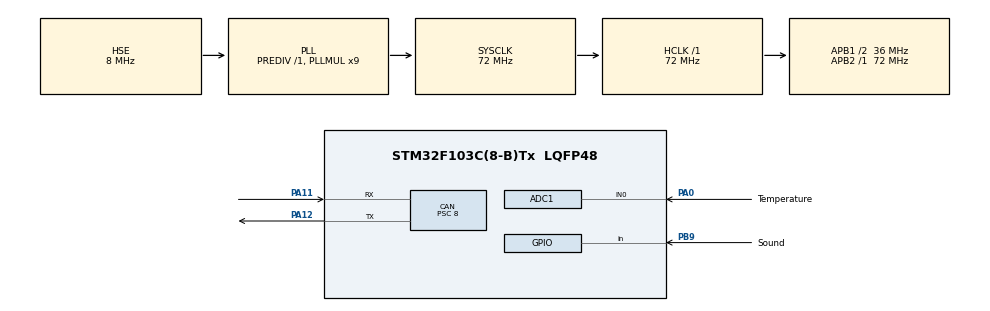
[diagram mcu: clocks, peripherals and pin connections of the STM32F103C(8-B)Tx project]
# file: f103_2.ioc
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ADC1.Channel-0\#ChannelRegularConversion=ADC_CHANNEL_0
ADC1.ContinuousConvMode=ENABLE
ADC1.NbrOfConversionFlag=1
ADC1.Rank-0\#ChannelRegularConversion=1
ADC1.SamplingTime-0\#ChannelRegularConversion=ADC_SAMPLETIME_239CYCLES_5
ADC1.master=1
CAN.BS1=CAN_BS1_15TQ
CAN.BS2=CAN_BS2_2TQ
CAN.CalculateBaudRate=250000
CAN.CalculateTimeBit=4000
CAN.CalculateTimeQuantum=222.22222222222223
CAN.Prescaler=8
Mcu.Family=STM32F1
Mcu.Name=STM32F103C(8-B)Tx
Mcu.Package=LQFP48
NVIC.ADC1_2_IRQn=true\:0\:0\:false\:false\:true\:true\:true\:true
NVIC.PriorityGroup=NVIC_PRIORITYGROUP_4
NVIC.TIM3_IRQn=true\:0\:0\:false\:false\:true\:true\:true\:true
NVIC.TIM4_IRQn=true\:0\:0\:false\:false\:true\:true\:true\:true
PA0-WKUP.GPIO_Label=Temperature
PA0-WKUP.Signal=ADCx_IN0
PA11.Mode=CAN_Activate
PA11.Signal=CAN_RX
PA12.Mode=CAN_Activate
PA12.Signal=CAN_TX
PA13.Mode=Serial_Wire
PA13.Signal=SYS_JTMS-SWDIO
PA14.Mode=Serial_Wire
PA14.Signal=SYS_JTCK-SWCLK
PB9.GPIO_Label=Sound
PB9.Signal=GPIO_Input
PD0-OSC_IN.Mode=HSE-External-Oscillator
PD0-OSC_IN.Signal=RCC_OSC_IN
PD1-OSC_OUT.Mode=HSE-External-Oscillator
PD1-OSC_OUT.Signal=RCC_OSC_OUT
ProjectManager.HeapSize=0x200
ProjectManager.StackSize=0x400
ProjectManager.TargetToolchain=STM32CubeIDE
RCC.ADCPresc=RCC_ADCPCLK2_DIV6
RCC.AHBFreq_Value=72000000
RCC.APB1CLKDivider=RCC_HCLK_DIV2
RCC.APB1Freq_Value=36000000
RCC.APB1TimFreq_Value=72000000
RCC.APB2Freq_Value=72000000
RCC.APB2TimFreq_Value=72000000
RCC.HCLKFreq_Value=72000000
RCC.PLLMUL=RCC_PLL_MUL9
RCC.PLLSourceVirtual=RCC_PLLSOURCE_HSE
RCC.SYSCLKFreq_VALUE=72000000
RCC.SYSCLKSource=RCC_SYSCLKSOURCE_PLLCLK
RCC.USBFreq_Value=72000000
SH.ADCx_IN0.0=ADC1_IN0,IN0
TIM3.AutoReloadPreload=TIM_AUTORELOAD_PRELOAD_ENABLE
TIM3.Period=2000-1
TIM3.Prescaler=35999
TIM4.AutoReloadPreload=TIM_AUTORELOAD_PRELOAD_ENABLE
TIM4.Period=500-1
TIM4.Prescaler=35999
VP_TIM3_VS_ClockSourceINT.Mode=Internal
VP_TIM4_VS_ClockSourceINT.Mode=Internal
board=custom

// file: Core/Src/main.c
/* USER CODE BEGIN Header */
/**
  ******************************************************************************
  * @file           : main.c
  * @brief          : Main program body
  ******************************************************************************
  * @attention
  *
  * Copyright (c) 2024 STMicroelectronics.
  * All rights reserved.
  *
  * This software is licensed under terms that can be found in the LICENSE file
  * in the root directory of this software component.
  * If no LICENSE file comes with this software, it is provided AS-IS.
  *
  ******************************************************************************
  */
/* USER CODE END Header */
#include "main.h"

ADC_HandleTypeDef hadc1;

CAN_HandleTypeDef hcan;

TIM_HandleTypeDef htim3;
TIM_HandleTypeDef htim4;

void SystemClock_Config(void);
static void MX_GPIO_Init(void);
static void MX_CAN_Init(void);
static void MX_ADC1_Init(void);
static void MX_TIM3_Init(void);
static void MX_TIM4_Init(void);
/* USER CODE BEGIN PFP */
static void CAN_Filter_Config(void);
static void measureSound(void);
static void sendTempMessage(uint16_t temperature);
void HAL_TIM_PeriodElapsedCallback(TIM_HandleTypeDef *htim);
/* USER CODE END PFP */

/* USER CODE BEGIN 0 */
uint16_t value;
uint16_t temperature;

/* USER CODE END 0 */

int main(void)
{

  /* MCU Configuration--------------------------------------------------------*/

  /* Reset of all peripherals, Initializes the Flash interface and the Systick. */
  HAL_Init();

  /* Configure the system clock */
  SystemClock_Config();

  /* Initialize all configured peripherals */
  MX_GPIO_Init();
  MX_CAN_Init();
  MX_ADC1_Init();
  MX_TIM3_Init();
  MX_TIM4_Init();
  /* USER CODE BEGIN 2 */

	CAN_Filter_Config();

	if(HAL_CAN_ActivateNotification(&hcan, CAN_IT_RX_FIFO0_MSG_PENDING) != HAL_OK)
	{
	  Error_Handler();
	}

	if( HAL_CAN_Start(&hcan) != HAL_OK)
	{
	  Error_Handler();
	}
	HAL_ADC_Start(&hadc1);
	HAL_TIM_Base_Start_IT(&htim3);
	HAL_TIM_Base_Start_IT(&htim4);

  /* USER CODE END 2 */

  /* Infinite loop */
  while (1)
  {

  }
}

void SystemClock_Config(void)
{
  RCC_OscInitTypeDef RCC_OscInitStruct = {0};
  RCC_ClkInitTypeDef RCC_ClkInitStruct = {0};
  RCC_PeriphCLKInitTypeDef PeriphClkInit = {0};

  /** Initializes the RCC Oscillators according to the specified parameters
  * in the RCC_OscInitTypeDef structure.
  */
  RCC_OscInitStruct.OscillatorType = RCC_OSCILLATORTYPE_HSE;
  RCC_OscInitStruct.HSEState = RCC_HSE_ON;
  RCC_OscInitStruct.HSEPredivValue = RCC_HSE_PREDIV_DIV1;
  RCC_OscInitStruct.HSIState = RCC_HSI_ON;
  RCC_OscInitStruct.PLL.PLLState = RCC_PLL_ON;
  RCC_OscInitStruct.PLL.PLLSource = RCC_PLLSOURCE_HSE;
  RCC_OscInitStruct.PLL.PLLMUL = RCC_PLL_MUL9;
  if (HAL_RCC_OscConfig(&RCC_OscInitStruct) != HAL_OK)
  {
    Error_Handler();
  }

  /** Initializes the CPU, AHB and APB buses clocks
  */
  RCC_ClkInitStruct.ClockType = RCC_CLOCKTYPE_HCLK|RCC_CLOCKTYPE_SYSCLK
                              |RCC_CLOCKTYPE_PCLK1|RCC_CLOCKTYPE_PCLK2;
  RCC_ClkInitStruct.SYSCLKSource = RCC_SYSCLKSOURCE_PLLCLK;
  RCC_ClkInitStruct.AHBCLKDivider = RCC_SYSCLK_DIV1;
  RCC_ClkInitStruct.APB1CLKDivider = RCC_HCLK_DIV2;
  RCC_ClkInitStruct.APB2CLKDivider = RCC_HCLK_DIV1;

  if (HAL_RCC_ClockConfig(&RCC_ClkInitStruct, FLASH_LATENCY_2) != HAL_OK)
  {
    Error_Handler();
  }
  PeriphClkInit.PeriphClockSelection = RCC_PERIPHCLK_ADC;
  PeriphClkInit.AdcClockSelection = RCC_ADCPCLK2_DIV6;
  if (HAL_RCCEx_PeriphCLKConfig(&PeriphClkInit) != HAL_OK)
  {
    Error_Handler();
  }
}

static void MX_ADC1_Init(void)
{

  ADC_ChannelConfTypeDef sConfig = {0};

  /** Common config
  */
  hadc1.Instance = ADC1;
  hadc1.Init.ScanConvMode = ADC_SCAN_DISABLE;
  hadc1.Init.ContinuousConvMode = ENABLE;
  hadc1.Init.DiscontinuousConvMode = DISABLE;
  hadc1.Init.ExternalTrigConv = ADC_SOFTWARE_START;
  hadc1.Init.DataAlign = ADC_DATAALIGN_RIGHT;
  hadc1.Init.NbrOfConversion = 1;
  if (HAL_ADC_Init(&hadc1) != HAL_OK)
  {
    Error_Handler();
  }

  /** Configure Regular Channel
  */
  sConfig.Channel = ADC_CHANNEL_0;
  sConfig.Rank = ADC_REGULAR_RANK_1;
  sConfig.SamplingTime = ADC_SAMPLETIME_239CYCLES_5;
  if (HAL_ADC_ConfigChannel(&hadc1, &sConfig) != HAL_OK)
  {
    Error_Handler();
  }

}

static void MX_CAN_Init(void)
{

  hcan.Instance = CAN1;
  hcan.Init.Prescaler = 8;
  hcan.Init.Mode = CAN_MODE_NORMAL;
  hcan.Init.SyncJumpWidth = CAN_SJW_1TQ;
  hcan.Init.TimeSeg1 = CAN_BS1_15TQ;
  hcan.Init.TimeSeg2 = CAN_BS2_2TQ;
  hcan.Init.TimeTriggeredMode = DISABLE;
  hcan.Init.AutoBusOff = DISABLE;
  hcan.Init.AutoWakeUp = DISABLE;
  hcan.Init.AutoRetransmission = DISABLE;
  hcan.Init.ReceiveFifoLocked = DISABLE;
  hcan.Init.TransmitFifoPriority = DISABLE;
  if (HAL_CAN_Init(&hcan) != HAL_OK)
  {
    Error_Handler();
  }

}

static void MX_TIM3_Init(void)
{

  TIM_ClockConfigTypeDef sClockSourceConfig = {0};
  TIM_MasterConfigTypeDef sMasterConfig = {0};

  htim3.Instance = TIM3;
  htim3.Init.Prescaler = 35999;
  htim3.Init.CounterMode = TIM_COUNTERMODE_UP;
  htim3.Init.Period = 2000-1;
  htim3.Init.ClockDivision = TIM_CLOCKDIVISION_DIV1;
  htim3.Init.AutoReloadPreload = TIM_AUTORELOAD_PRELOAD_ENABLE;
  if (HAL_TIM_Base_Init(&htim3) != HAL_OK)
  {
    Error_Handler();
  }
  sClockSourceConfig.ClockSource = TIM_CLOCKSOURCE_INTERNAL;
  if (HAL_TIM_ConfigClockSource(&htim3, &sClockSourceConfig) != HAL_OK)
  {
    Error_Handler();
  }
  sMasterConfig.MasterOutputTrigger = TIM_TRGO_RESET;
  sMasterConfig.MasterSlaveMode = TIM_MASTERSLAVEMODE_DISABLE;
  if (HAL_TIMEx_MasterConfigSynchronization(&htim3, &sMasterConfig) != HAL_OK)
  {
    Error_Handler();
  }

}

static void MX_TIM4_Init(void)
{

  TIM_ClockConfigTypeDef sClockSourceConfig = {0};
  TIM_MasterConfigTypeDef sMasterConfig = {0};

  htim4.Instance = TIM4;
  htim4.Init.Prescaler = 35999;
  htim4.Init.CounterMode = TIM_COUNTERMODE_UP;
  htim4.Init.Period = 500-1;
  htim4.Init.ClockDivision = TIM_CLOCKDIVISION_DIV1;
  htim4.Init.AutoReloadPreload = TIM_AUTORELOAD_PRELOAD_ENABLE;
  if (HAL_TIM_Base_Init(&htim4) != HAL_OK)
  {
    Error_Handler();
  }
  sClockSourceConfig.ClockSource = TIM_CLOCKSOURCE_INTERNAL;
  if (HAL_TIM_ConfigClockSource(&htim4, &sClockSourceConfig) != HAL_OK)
  {
    Error_Handler();
  }
  sMasterConfig.MasterOutputTrigger = TIM_TRGO_RESET;
  sMasterConfig.MasterSlaveMode = TIM_MASTERSLAVEMODE_DISABLE;
  if (HAL_TIMEx_MasterConfigSynchronization(&htim4, &sMasterConfig) != HAL_OK)
  {
    Error_Handler();
  }

}

static void MX_GPIO_Init(void)
{
  GPIO_InitTypeDef GPIO_InitStruct = {0};

  /* GPIO Ports Clock Enable */
  __HAL_RCC_GPIOD_CLK_ENABLE();
  __HAL_RCC_GPIOA_CLK_ENABLE();
  __HAL_RCC_GPIOB_CLK_ENABLE();

  /*Configure GPIO pin : Sound_Pin */
  GPIO_InitStruct.Pin = Sound_Pin;
  GPIO_InitStruct.Mode = GPIO_MODE_INPUT;
  GPIO_InitStruct.Pull = GPIO_NOPULL;
  HAL_GPIO_Init(Sound_GPIO_Port, &GPIO_InitStruct);

}

/* USER CODE BEGIN 4 */
static void CAN_Filter_Config(void)
{
	CAN_FilterTypeDef can1_filter_init;

	can1_filter_init.FilterActivation = ENABLE;
	can1_filter_init.FilterBank  = 0;
	can1_filter_init.FilterFIFOAssignment = CAN_RX_FIFO0;
	can1_filter_init.FilterIdHigh = 0x0000;
	can1_filter_init.FilterIdLow = 0x0000;
	can1_filter_init.FilterMaskIdHigh = 0x0000;
	can1_filter_init.FilterMaskIdLow = 0x0000;
	can1_filter_init.FilterMode = CAN_FILTERMODE_IDMASK;
	can1_filter_init.FilterScale = CAN_FILTERSCALE_32BIT;

	if( HAL_CAN_ConfigFilter(&hcan,&can1_filter_init) != HAL_OK)
	{
		Error_Handler();
	}
}

void HAL_CAN_TxMailbox0CompleteCallback(CAN_HandleTypeDef *hcan)
{

}

void HAL_CAN_TxMailbox1CompleteCallback(CAN_HandleTypeDef *hcan)
{

}

void HAL_CAN_TxMailbox2CompleteCallback(CAN_HandleTypeDef *hcan)
{

}

void HAL_CAN_RxFifo0MsgPendingCallback(CAN_HandleTypeDef *hcan)
{

}

void HAL_TIM_PeriodElapsedCallback(TIM_HandleTypeDef *htim) {
	if (htim->Instance == TIM3) {
		sendTempMessage(temperature);
	}else if (htim->Instance == TIM4) {
		measureSound();
	}
}

static void sendTempMessage(uint16_t temperature){
	// ADC conversion
	value = HAL_ADC_GetValue(&hadc1);
	temperature  = value * 0.08;

	CAN_TxHeaderTypeDef TxHeader;
	uint32_t TxMailbox;
	uint8_t message[2] = {(temperature & 0xFF00)>>8 , temperature & 0x00FF};

	TxHeader.DLC = 2;
	TxHeader.StdId = 0x650;
	TxHeader.IDE   = CAN_ID_STD;
	TxHeader.RTR = CAN_RTR_DATA;

	if( HAL_CAN_AddTxMessage(&hcan,&TxHeader,message,&TxMailbox) != HAL_OK)
	{
		Error_Handler();
	}

}

static void measureSound(void){
	GPIO_PinState value = HAL_GPIO_ReadPin(Sound_GPIO_Port, Sound_Pin);

	if(value == GPIO_PIN_SET)
	{
		CAN_TxHeaderTypeDef TxHeader;
		uint32_t TxMailbox;

		uint8_t message[1] = {0x1};

		TxHeader.DLC = 1;
		TxHeader.StdId = 0x652;
		TxHeader.IDE   = CAN_ID_STD;
		TxHeader.RTR = CAN_RTR_DATA;

		if( HAL_CAN_AddTxMessage(&hcan,&TxHeader,message,&TxMailbox) != HAL_OK)
		{
			Error_Handler();

		}

	}

}

void HAL_CAN_ErrorCallback(CAN_HandleTypeDef *hcan)
{

}

/* USER CODE END 4 */

void Error_Handler(void)
{
  __disable_irq();
  while (1)
  {
  }
}
